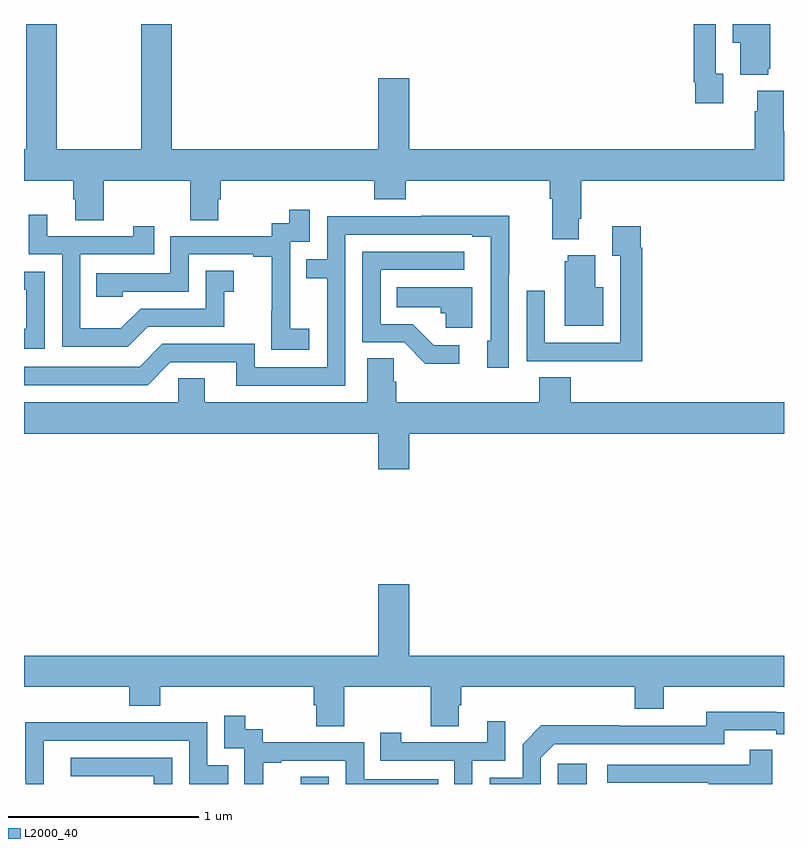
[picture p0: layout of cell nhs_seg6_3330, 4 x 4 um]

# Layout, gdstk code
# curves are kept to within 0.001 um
import gdstk
lib = gdstk.Library(unit=1e-6, precision=1e-09)
def R(c, l, rs):  # rectangles x0, y0, x1, y1
    for r in rs: c.add(gdstk.rectangle(r[:2], r[2:], *l))
def P(c, l, *ps):  # polygons
    for p in ps: c.add(gdstk.Polygon(p, *l))
L2000_40 = (2000, 40)

nhs_seg6_3330 = lib.new_cell('nhs_seg6_3330')
R(nhs_seg6_3330, L2000_40, [(308.457,937.5,308.604,937.537), (309.81,937.5,309.961,937.606)])
P(nhs_seg6_3330, L2000_40, [(309.919,940.474),(309.932,940.474),(309.932,940.676),(311,940.676),(311,940.936),(310.999,940.936),(310.999,941.149),(310.859,941.149),(310.859,941.042),(310.847,941.042),(310.847,940.84),(309.028,940.84),(309.028,941.215),(308.864,941.215),(308.864,940.84),(307.778,940.84),(307.778,941.5),(307.618,941.5),(307.618,940.84),(307.173,940.84),(307.173,941.5),(307.013,941.5),(307.013,940.84),(307,940.84),(307,940.676),(307.259,940.676),(307.259,940.578),(307.271,940.578),(307.271,940.468),(307.419,940.468),(307.419,940.676),(307.876,940.676),(307.876,940.468),(308.023,940.468),(308.023,940.578),(308.036,940.578),(308.036,940.676),(308.843,940.676),(308.843,940.577),(309.008,940.577),(309.008,940.676),(309.767,940.676),(309.767,940.58),(309.779,940.58),(309.779,940.367),(309.919,940.367)],
  [(310.916,941.265),(310.927,941.265),(310.927,941.5),(310.73,941.5),(310.73,941.402),(310.769,941.402),(310.769,941.234),(310.916,941.234)],
  [(310.681,941.238),(310.641,941.238),(310.641,941.5),(310.525,941.5),(310.525,941.194),(310.533,941.194),(310.533,941.082),(310.681,941.082)],
  [(308.5,939.895),(308.402,939.895),(308.402,940.124),(308.4,940.124),(308.4,940.353),(308.505,940.353),(308.505,940.522),(308.397,940.522),(308.397,940.452),(308.304,940.452),(308.304,940.383),(307.77,940.383),(307.77,940.188),(307.381,940.188),(307.381,940.065),(307.521,940.065),(307.521,940.092),(307.866,940.092),(307.866,940.287),(308.207,940.287),(308.207,940.275),(308.303,940.275),(308.303,939.991),(308.302,939.991),(308.302,939.785),(308.5,939.785)],
  [(307.651,939.906),(308.055,939.906),(308.055,940.091),(308.104,940.091),(308.104,940.201),(307.956,940.201),(307.956,940.002),(307.614,940.002),(307.51,939.898),(307.296,939.898),(307.296,940.287),(307.685,940.287),(307.685,940.435),(307.574,940.435),(307.574,940.383),(307.123,940.383),(307.123,940.495),(307.026,940.495),(307.026,940.287),(307.2,940.287),(307.2,939.801),(307.546,939.801)],
  [(308.691,940.392),(309.359,940.392),(309.359,940.38),(309.456,940.38),(309.456,939.834),(309.437,939.834),(309.437,939.69),(309.552,939.69),(309.552,940.183),(309.555,940.183),(309.555,940.49),(309.091,940.49),(309.091,940.488),(308.595,940.488),(308.595,940.263),(308.485,940.263),(308.485,940.162),(308.595,940.162),(308.595,939.693),(308.214,939.693),(308.214,939.816),(307.728,939.816),(307.608,939.696),(307,939.696),(307,939.6),(307.65,939.6),(307.77,939.72),(308.117,939.72),(308.117,939.597),(308.691,939.597)],
  [(310.253,940.322),(310.246,940.322),(310.246,940.435),(310.097,940.435),(310.097,940.279),(310.137,940.279),(310.137,939.822),(309.741,939.822),(309.741,940.096),(309.645,940.096),(309.645,939.726),(309.961,939.726),(309.961,939.725),(310.253,939.725)],
  [(309.292,939.81),(309.157,939.81),(309.046,939.921),(308.877,939.921),(308.877,940.206),(309.316,940.206),(309.316,940.302),(308.781,940.302),(308.781,939.825),(309,939.825),(309.113,939.713),(309.292,939.713)],
  [(310.048,940.114),(310.006,940.114),(310.006,940.282),(309.863,940.282),(309.863,940.251),(309.845,940.251),(309.845,939.911),(310.048,939.911)],
  [(307.11,940.197),(307,940.197),(307,940.101),(307.013,940.101),(307.013,939.897),(307,939.897),(307,939.792),(307.11,939.792)],
  [(309.358,940.114),(308.962,940.114),(308.962,940.01),(309.193,940.01),(309.193,939.978),(309.219,939.978),(309.219,939.902),(309.358,939.902)],
  [(309.028,939.344),(311,939.344),(311,939.508),(309.878,939.508),(309.878,939.641),(309.713,939.641),(309.713,939.508),(308.96,939.508),(308.96,939.617),(308.946,939.617),(308.946,939.74),(308.807,939.74),(308.807,939.508),(307.951,939.508),(307.951,939.635),(307.812,939.635),(307.812,939.508),(307,939.508),(307,939.344),(308.864,939.344),(308.864,939.156),(309.028,939.156)],
  [(308.685,938.012),(309.142,938.012),(309.142,937.804),(309.289,937.804),(309.289,937.914),(309.302,937.914),(309.302,938.012),(310.214,938.012),(310.214,937.895),(310.366,937.895),(310.366,938.012),(311,938.012),(311,938.176),(309.028,938.176),(309.028,938.551),(308.864,938.551),(308.864,938.176),(307,938.176),(307,938.012),(307.553,938.012),(307.553,937.913),(307.718,937.913),(307.718,938.012),(308.525,938.012),(308.525,937.914),(308.537,937.914),(308.537,937.804),(308.685,937.804)],
  [(309.72,937.638),(309.792,937.71),(310.686,937.71),(310.686,937.782),(310.958,937.782),(310.958,937.762),(311,937.762),(311,937.878),(310.59,937.879),(310.59,937.806),(310.13,937.806),(310.13,937.808),(309.722,937.808),(309.624,937.71),(309.624,937.533),(309.45,937.533),(309.45,937.5),(309.72,937.5)],
  [(308.258,937.611),(308.353,937.611),(308.353,937.623),(308.694,937.623),(308.694,937.5),(309.179,937.5),(309.179,937.524),(308.79,937.524),(308.79,937.719),(308.256,937.719),(308.256,937.788),(308.164,937.788),(308.164,937.858),(308.055,937.858),(308.055,937.689),(308.16,937.689),(308.16,937.5),(308.258,937.5)],
  [(309.36,937.623),(309.534,937.623),(309.534,937.831),(309.437,937.831),(309.437,937.719),(308.986,937.719),(308.986,937.771),(308.875,937.771),(308.875,937.623),(309.264,937.623),(309.264,937.5),(309.36,937.5)],
  [(307.105,937.728),(307.869,937.728),(307.869,937.5),(308.075,937.5),(308.075,937.599),(307.965,937.599),(307.965,937.824),(307.469,937.824),(307.469,937.826),(307.006,937.826),(307.006,937.519),(307.008,937.519),(307.008,937.5),(307.105,937.5)],
  [(310.937,937.681),(310.819,937.681),(310.819,937.602),(310.071,937.602),(310.071,937.506),(310.603,937.506),(310.603,937.5),(310.937,937.5)],
  [(307.779,937.638),(307.245,937.638),(307.245,937.542),(307.683,937.542),(307.683,937.5),(307.779,937.5)])

lib.write_gds('nhs_seg6_3330.gds')
